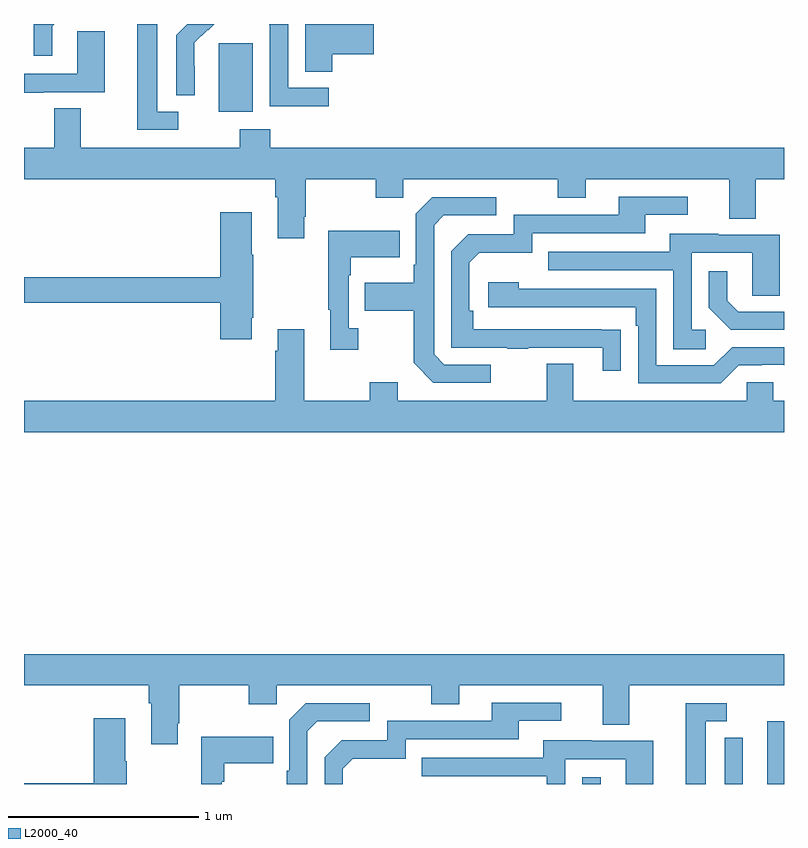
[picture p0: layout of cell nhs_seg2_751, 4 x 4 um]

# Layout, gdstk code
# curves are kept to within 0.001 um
import gdstk
lib = gdstk.Library(unit=1e-6, precision=1e-09)
def R(c, l, rs):  # rectangles x0, y0, x1, y1
    for r in rs: c.add(gdstk.rectangle(r[:2], r[2:], *l))
def P(c, l, *ps):  # polygons
    for p in ps: c.add(gdstk.Polygon(p, *l))
L2000_40 = (2000, 40)

nhs_seg2_751 = lib.new_cell('nhs_seg2_751')
R(nhs_seg2_751, L2000_40, [(151.938,629.8,152.035,629.836), (152.912,629.8,153,630.13), (150.026,633.338,150.205,633.699)])
P(nhs_seg2_751, L2000_40, [(149.898,633.578),(149.897,633.578),(149.897,633.701),(149.967,633.771),(149.97,633.768),(150.002,633.8),(149.86,633.8),(149.802,633.742),(149.802,633.424),(149.898,633.424)],
  [(150.623,633.641),(150.841,633.641),(150.841,633.8),(150.479,633.8),(150.479,633.55),(150.623,633.55)],
  [(150.604,633.465),(150.39,633.465),(150.39,633.8),(150.292,633.8),(150.292,633.796),(150.294,633.796),(150.294,633.367),(150.604,633.367)],
  [(149.149,633.789),(149.16,633.8),(149.052,633.8),(149.052,633.633),(149.149,633.633)],
  [(149.812,633.339),(149.701,633.339),(149.701,633.8),(149.597,633.8),(149.597,633.243),(149.812,633.243)],
  [(149.101,633.441),(149.425,633.441),(149.425,633.761),(149.28,633.761),(149.28,633.537),(149,633.537),(149,633.437),(149.101,633.437)],
  [(150.296,633.247),(150.136,633.247),(150.136,633.148),(149.299,633.148),(149.299,633.356),(149.159,633.356),(149.159,633.148),(149,633.148),(149,632.984),(150.323,632.984),(150.323,632.888),(150.335,632.888),(150.335,632.673),(150.475,632.673),(150.475,632.785),(150.483,632.785),(150.483,632.984),(150.85,632.984),(150.85,632.885),(150.996,632.885),(150.996,632.984),(151.81,632.984),(151.81,632.885),(151.957,632.885),(151.957,632.984),(152.711,632.984),(152.711,632.776),(152.851,632.776),(152.851,632.984),(153,632.984),(153,633.148),(150.296,633.148)],
  [(152.141,632.192),(151.364,632.193),(151.364,632.29),(151.344,632.29),(151.344,632.544),(151.397,632.597),(151.674,632.597),(151.674,632.7),(152.269,632.7),(152.269,632.796),(152.494,632.796),(152.494,632.892),(152.129,632.892),(152.129,632.796),(151.578,632.796),(151.578,632.694),(151.338,632.694),(151.248,632.604),(151.248,632.097),(151.543,632.097),(151.543,632.092),(151.655,632.092),(151.655,632.097),(152.045,632.097),(152.045,631.974),(152.141,631.974)],
  [(151.456,632.007),(151.212,632.007),(151.158,632.061),(151.158,632.742),(151.209,632.793),(151.486,632.793),(151.486,632.889),(151.149,632.889),(151.062,632.802),(151.062,632.533),(151.05,632.533),(151.05,632.437),(150.793,632.437),(150.793,632.29),(151.05,632.29),(151.05,632.017),(151.155,631.911),(151.456,631.911)],
  [(150.199,632.254),(150.207,632.254),(150.207,632.585),(150.199,632.585),(150.199,632.809),(150.032,632.809),(150.032,632.468),(149,632.468),(149,632.332),(150.032,632.332),(150.032,632.142),(150.199,632.142)],
  [(150.76,632.198),(150.708,632.198),(150.708,632.477),(150.721,632.477),(150.721,632.573),(150.977,632.573),(150.977,632.713),(150.6,632.713),(150.6,632.297),(150.611,632.297),(150.611,632.085),(150.76,632.085)],
  [(152.587,632.19),(152.514,632.19),(152.514,632.595),(152.832,632.595),(152.832,632.371),(152.977,632.371),(152.977,632.691),(152.653,632.691),(152.653,632.695),(152.399,632.695),(152.399,632.601),(151.759,632.601),(151.759,632.505),(152.418,632.505),(152.418,632.089),(152.587,632.089)],
  [(153,632.286),(152.758,632.286),(152.701,632.343),(152.701,632.5),(152.604,632.5),(152.604,632.306),(152.72,632.19),(153,632.19)],
  [(152.763,632.004),(152.882,632.004),(152.882,632.007),(152.997,632.007),(153,632.004),(153,632.1),(152.727,632.1),(152.631,632.004),(152.328,632.004),(152.328,632.406),(151.604,632.406),(151.604,632.44),(151.443,632.44),(151.443,632.31),(152.219,632.31),(152.219,632.213),(152.232,632.213),(152.232,631.908),(152.667,631.908)],
  [(153,631.816),(152.943,631.816),(152.943,631.914),(152.805,631.914),(152.805,631.816),(151.891,631.816),(151.891,632.011),(151.751,632.011),(151.751,631.816),(150.967,631.816),(150.967,631.915),(150.82,631.915),(150.82,631.816),(150.475,631.816),(150.475,632.194),(150.335,632.194),(150.335,632.081),(150.323,632.081),(150.323,631.816),(149,631.816),(149,631.652),(153,631.652)],
  [(149.809,630.121),(149.817,630.121),(149.817,630.32),(150.184,630.32),(150.184,630.221),(150.33,630.221),(150.33,630.32),(151.144,630.32),(151.144,630.221),(151.291,630.221),(151.291,630.32),(152.045,630.32),(152.045,630.112),(152.185,630.112),(152.185,630.32),(153,630.32),(153,630.484),(149,630.484),(149,630.32),(149.657,630.32),(149.657,630.224),(149.669,630.224),(149.669,630.009),(149.809,630.009)],
  [(150.678,629.88),(150.731,629.933),(151.008,629.933),(151.008,630.036),(151.603,630.036),(151.603,630.132),(151.828,630.132),(151.828,630.228),(151.463,630.228),(151.463,630.132),(150.912,630.132),(150.912,630.03),(150.672,630.03),(150.582,629.94),(150.582,629.8),(150.678,629.8)],
  [(150.492,630.078),(150.543,630.129),(150.82,630.129),(150.82,630.225),(150.483,630.225),(150.396,630.138),(150.396,629.869),(150.384,629.869),(150.384,629.8),(150.492,629.8)],
  [(152.587,630.129),(152.698,630.129),(152.698,630.225),(152.483,630.225),(152.483,629.8),(152.587,629.8)],
  [(149.541,629.921),(149.533,629.921),(149.533,630.145),(149.366,630.145),(149.366,629.804),(149,629.804),(149,629.8),(149.541,629.8)],
  [(150.042,629.813),(150.055,629.813),(150.055,629.909),(150.311,629.909),(150.311,630.049),(149.934,630.049),(149.934,629.8),(150.042,629.8)],
  [(152.783,629.89),(152.784,629.89),(152.784,630.044),(152.688,630.044),(152.688,629.8),(152.783,629.8)],
  [(151.848,629.931),(152.166,629.931),(152.166,629.8),(152.311,629.8),(152.311,630.027),(151.987,630.027),(151.987,630.031),(151.733,630.031),(151.733,629.937),(151.093,629.937),(151.093,629.841),(151.752,629.841),(151.752,629.8),(151.848,629.8)])

lib.write_gds('nhs_seg2_751.gds')
